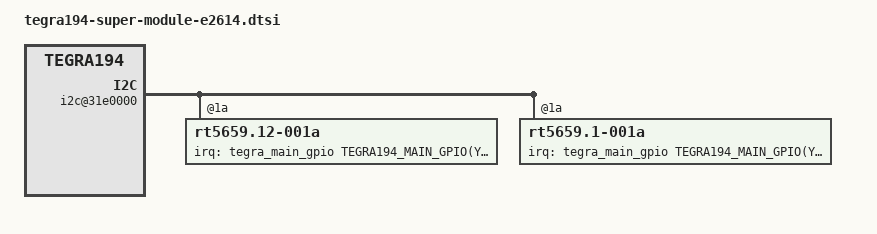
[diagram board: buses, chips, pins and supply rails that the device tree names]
/*
 * tegra194-super-module-e2614.dtsi DTSI file.
 *
 * Copyright (c) 2019-2020, NVIDIA CORPORATION.  All rights reserved.
 *
 * This program is free software; you can redistribute it and/or modify
 * it under the terms of the GNU General Public License as published by
 * the Free Software Foundation; version 2 of the License.
 *
 * This program is distributed in the hope that it will be useful, but WITHOUT
 * ANY WARRANTY; without even the implied warranty of MERCHANTABILITY or
 * FITNESS FOR A PARTICULAR PURPOSE.  See the GNU General Public License for
 * more details.
 */

#include <t19x-common-modules/tegra194-super-module-e2614.dtsi>

/ {
	i2c@31e0000 {
		i2cmux@70 {
			i2c@3 {
				rt5659.12-001a@1a {
					/* Codec IRQ output */
					interrupt-parent = <&tegra_main_gpio>;
					interrupts = <TEGRA194_MAIN_GPIO(Y, 0) GPIO_ACTIVE_HIGH>;
				};
			};
		};

		rt5659.1-001a@1a {
			/* Codec IRQ output */
			interrupt-parent = <&tegra_main_gpio>;
			interrupts = <TEGRA194_MAIN_GPIO(Y, 0) GPIO_ACTIVE_HIGH>;
		};
	};

	plugin-manager {
		fragment-e2614-common@0 {
			overrides@10 {
				target = <&tegra_sound>;
				_overlay_ {
					nvidia-audio-card,widgets =
						"Headphone",	"H40-RT Headphone",
						"Microphone",	"H40-RT Mic",
						"Headphone",	"H40-TAS-R Headphone",
						"Headphone",	"H40-TAS-L Headphone";

					nvidia-audio-card,routing =
						"H40-RT Headphone",	"H40-RT HPO L Playback",
						"H40-RT Headphone",	"H40-RT HPO R Playback",
						"H40-RT IN1P",		"H40-RT Mic",
						"H40-TAS-R Headphone",	"H40-TAS-R OUT",
						"H40-TAS-L Headphone",	"H40-TAS-L OUT";
				};
			};
		};
	};
};
